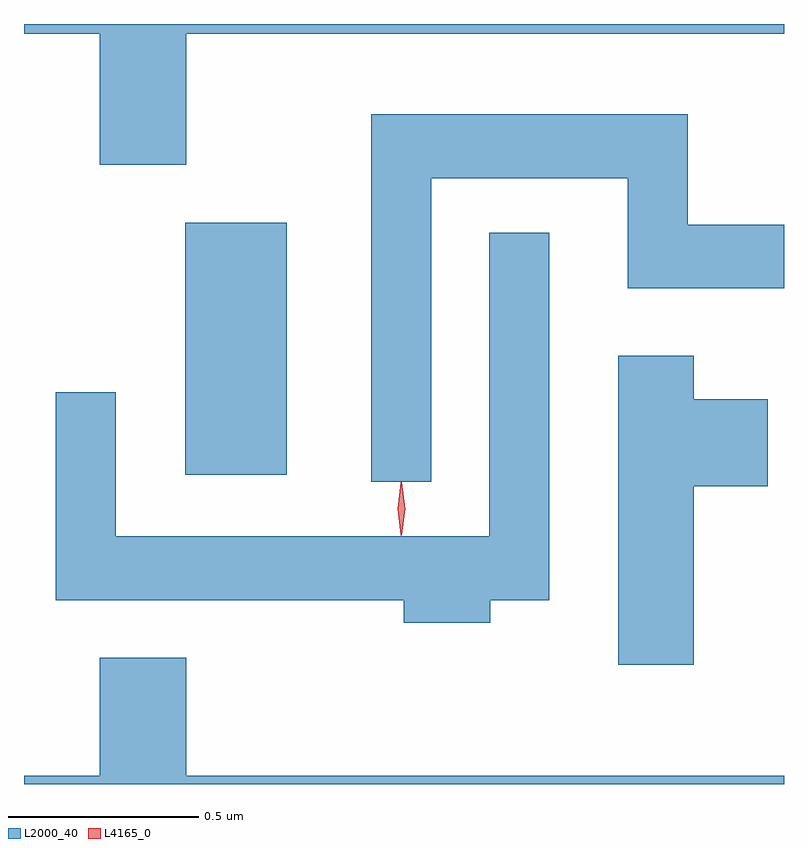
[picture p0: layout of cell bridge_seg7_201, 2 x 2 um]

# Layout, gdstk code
import gdstk
lib = gdstk.Library(unit=1e-6, precision=1e-09)
def R(c, l, rs):  # rectangles x0, y0, x1, y1
    for r in rs: c.add(gdstk.rectangle(r[:2], r[2:], *l))
def P(c, l, *ps):  # polygons
    for p in ps: c.add(gdstk.Polygon(p, *l))
L2000_40 = (2000, 40)
L4165_0 = (4165, 0)

bridge_seg7_201 = lib.new_cell('bridge_seg7_201')
R(bridge_seg7_201, L2000_40, [(1489.546,1704.276,1489.814,1704.939)])
P(bridge_seg7_201, L2000_40, [(1489.549,1705.436),(1491.122,1705.436),(1491.122,1705.462),(1489.122,1705.462),(1489.122,1705.436),(1489.321,1705.436),(1489.321,1705.091),(1489.549,1705.091)],
  [(1490.194,1705.056),(1490.711,1705.056),(1490.711,1704.766),(1491.122,1704.766),(1491.122,1704.934),(1490.869,1704.934),(1490.869,1705.224),(1490.036,1705.224),(1490.036,1704.258),(1490.194,1704.258)],
  [(1490.349,1703.946),(1490.504,1703.946),(1490.504,1704.913),(1490.346,1704.913),(1490.346,1704.114),(1489.364,1704.114),(1489.364,1704.493),(1489.206,1704.493),(1489.206,1703.946),(1490.121,1703.946),(1490.121,1703.886),(1490.349,1703.886)],
  [(1490.884,1704.246),(1491.079,1704.246),(1491.079,1704.474),(1490.884,1704.474),(1490.884,1704.589),(1490.686,1704.589),(1490.686,1703.776),(1490.884,1703.776)],
  [(1491.122,1703.484),(1489.549,1703.484),(1489.549,1703.794),(1489.321,1703.794),(1489.321,1703.484),(1489.122,1703.484),(1489.122,1703.462),(1491.122,1703.462)])
P(bridge_seg7_201, L4165_0, [(1490.115,1704.119),(1490.114,1704.12),(1490.105,1704.186),(1490.114,1704.252),(1490.115,1704.253),(1490.115,1704.252),(1490.125,1704.186),(1490.115,1704.12)],
  [(1490.114,1704.117),(1490.105,1704.186),(1490.114,1704.256),(1490.115,1704.256),(1490.116,1704.256),(1490.125,1704.186),(1490.116,1704.117),(1490.115,1704.117)])

lib.write_gds('bridge_seg7_201.gds')
